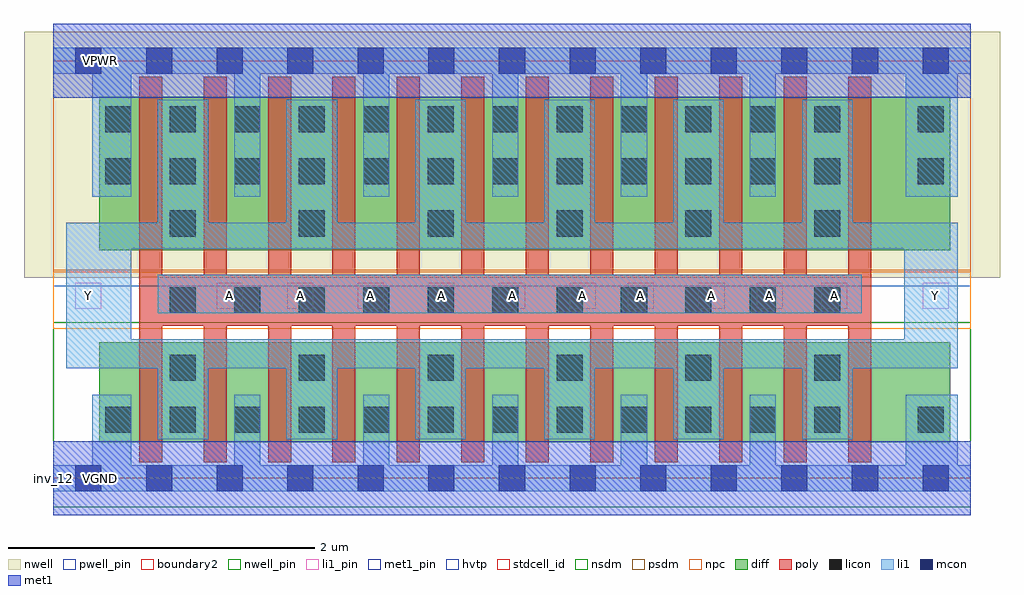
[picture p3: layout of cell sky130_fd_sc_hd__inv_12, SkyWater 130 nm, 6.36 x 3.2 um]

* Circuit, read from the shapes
.subckt sky130_fd_sc_hd__inv_12 A VGND VNB VPB VPWR Y
XM1 Y A VGND VNB sky130_fd_pr__nfet_01v8 w=0.65 l=0.15 m=12
XM2 Y A VPWR VPB sky130_fd_pr__pfet_01v8_hvt w=1 l=0.15 m=12
.ends

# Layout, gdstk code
import gdstk
lib = gdstk.Library(unit=1e-6, precision=1e-09)
def R(c, l, rs):  # rectangles x0, y0, x1, y1
    for r in rs: c.add(gdstk.rectangle(r[:2], r[2:], *l))
def A(c, l, x, y, w, h, nx, ny, dx, dy):  # array of equal rectangles
    R(c, l, [(x+i*dx, y+j*dy, x+i*dx+w, y+j*dy+h) for i in range(nx) for j in range(ny)])
def P(c, l, *ps):  # polygons
    for p in ps: c.add(gdstk.Polygon(p, *l))
nwell_pin = (64, 16)
nwell = (64, 20)
diff = (65, 20)
poly = (66, 20)
licon = (66, 44)
li1_pin = (67, 16)
li1 = (67, 20)
mcon = (67, 44)
met1_pin = (68, 16)
met1 = (68, 20)
hvtp = (78, 44)
stdcell_id = (81, 4)
nsdm = (93, 44)
psdm = (94, 20)
npc = (95, 20)
pwell_pin = (122, 16)
boundary2 = (236, 0)

sky130_fd_sc_hd__inv_12 = lib.new_cell('sky130_fd_sc_hd__inv_12')
R(sky130_fd_sc_hd__inv_12, nwell_pin, [(0.145,2.635,0.315,2.805)])
R(sky130_fd_sc_hd__inv_12, nwell, [(-0.19,1.305,6.17,2.91)])
R(sky130_fd_sc_hd__inv_12, diff, [(0.3,0.235,5.845,0.885), (0.3,1.485,5.845,2.485)])
P(sky130_fd_sc_hd__inv_12, poly, [(0.56,0.105),(0.56,2.615),(0.71,2.615),(0.71,1.325),(0.98,1.325),(0.98,2.615),(1.13,2.615),(1.13,1.325),(1.4,1.325),(1.4,2.615),(1.55,2.615),(1.55,1.325),(1.82,1.325),(1.82,2.615),(1.97,2.615),(1.97,1.325),(2.24,1.325),(2.24,2.615),(2.39,2.615),(2.39,1.325),(2.66,1.325),(2.66,2.615),(2.81,2.615),(2.81,1.325),(3.08,1.325),(3.08,2.615),(3.23,2.615),(3.23,1.325),(3.5,1.325),(3.5,2.615),(3.65,2.615),(3.65,1.325),(3.92,1.325),(3.92,2.615),(4.07,2.615),(4.07,1.325),(4.34,1.325),(4.34,2.615),(4.49,2.615),(4.49,1.325),(4.76,1.325),(4.76,2.615),(4.91,2.615),(4.91,1.325),(5.18,1.325),(5.18,2.615),(5.33,2.615),(5.33,0.105),(5.18,0.105),(5.18,0.995),(4.91,0.995),(4.91,0.105),(4.76,0.105),(4.76,0.995),(4.49,0.995),(4.49,0.105),(4.34,0.105),(4.34,0.995),(4.07,0.995),(4.07,0.105),(3.92,0.105),(3.92,0.995),(3.65,0.995),(3.65,0.105),(3.5,0.105),(3.5,0.995),(3.23,0.995),(3.23,0.105),(3.08,0.105),(3.08,0.995),(2.81,0.995),(2.81,0.105),(2.66,0.105),(2.66,0.995),(2.39,0.995),(2.39,0.105),(2.24,0.105),(2.24,0.995),(1.97,0.995),(1.97,0.105),(1.82,0.105),(1.82,0.995),(1.55,0.995),(1.55,0.105),(1.4,0.105),(1.4,0.995),(1.13,0.995),(1.13,0.105),(0.98,0.105),(0.98,0.995),(0.71,0.995),(0.71,0.105)])
A(sky130_fd_sc_hd__inv_12, licon, 0.34, 0.295, 0.17, 0.17, 12, 2, 0.42, 1.62)
A(sky130_fd_sc_hd__inv_12, licon, 0.76, 0.635, 0.17, 0.17, 6, 2, 0.84, 0.94)
A(sky130_fd_sc_hd__inv_12, licon, 0.76, 1.075, 0.17, 0.17, 11, 1, 0.42, 0)
A(sky130_fd_sc_hd__inv_12, licon, 0.34, 2.255, 0.17, 0.17, 12, 1, 0.42, 0)
R(sky130_fd_sc_hd__inv_12, licon, [(5.635,0.295,5.805,0.465), (5.635,1.915,5.805,2.085), (5.635,2.255,5.805,2.425)])
A(sky130_fd_sc_hd__inv_12, li1_pin, 1.065, 1.105, 0.17, 0.17, 6, 1, 0.46, 0)
R(sky130_fd_sc_hd__inv_12, li1_pin, [(0.145,1.105,0.315,1.275), (3.745,1.105,3.915,1.275), (4.205,1.105,4.375,1.275), (4.585,1.105,4.755,1.275), (5.005,1.105,5.175,1.275), (5.665,1.105,5.835,1.275)])
R(sky130_fd_sc_hd__inv_12, li1, [(0.68,1.075,5.27,1.325)])
P(sky130_fd_sc_hd__inv_12, li1, [(0,-0.085),(0,0.085),(0.255,0.085),(0.255,0.545),(0.51,0.545),(0.51,0.085),(1.18,0.085),(1.18,0.545),(1.35,0.545),(1.35,0.085),(2.02,0.085),(2.02,0.545),(2.19,0.545),(2.19,0.085),(2.86,0.085),(2.86,0.545),(3.03,0.545),(3.03,0.085),(3.7,0.085),(3.7,0.545),(3.87,0.545),(3.87,0.085),(4.54,0.085),(4.54,0.545),(4.71,0.545),(4.71,0.085),(5.555,0.085),(5.555,0.545),(5.895,0.545),(5.895,0.085),(5.98,0.085),(5.98,-0.085)],
  [(0.255,1.835),(0.255,2.635),(0,2.635),(0,2.805),(5.98,2.805),(5.98,2.635),(5.895,2.635),(5.895,1.835),(5.555,1.835),(5.555,2.635),(4.71,2.635),(4.71,1.835),(4.54,1.835),(4.54,2.635),(3.87,2.635),(3.87,1.835),(3.7,1.835),(3.7,2.635),(3.03,2.635),(3.03,1.835),(2.86,1.835),(2.86,2.635),(2.19,2.635),(2.19,1.835),(2.02,1.835),(2.02,2.635),(1.35,2.635),(1.35,1.835),(1.18,1.835),(1.18,2.635),(0.51,2.635),(0.51,1.835)],
  [(0.68,0.255),(0.68,0.715),(0.085,0.715),(0.085,1.665),(0.68,1.665),(0.68,2.465),(1.01,2.465),(1.01,1.665),(1.52,1.665),(1.52,2.465),(1.85,2.465),(1.85,1.665),(2.36,1.665),(2.36,2.465),(2.69,2.465),(2.69,1.665),(3.2,1.665),(3.2,2.465),(3.53,2.465),(3.53,1.665),(4.04,1.665),(4.04,2.465),(4.37,2.465),(4.37,1.665),(4.88,1.665),(4.88,2.465),(5.21,2.465),(5.21,1.665),(5.545,1.665),(5.545,1.495),(0.51,1.495),(0.51,0.905),(5.545,0.905),(5.545,1.665),(5.895,1.665),(5.895,0.715),(5.21,0.715),(5.21,0.255),(4.88,0.255),(4.88,0.715),(4.37,0.715),(4.37,0.255),(4.04,0.255),(4.04,0.715),(3.53,0.715),(3.53,0.255),(3.2,0.255),(3.2,0.715),(2.69,0.715),(2.69,0.255),(2.36,0.255),(2.36,0.715),(1.85,0.715),(1.85,0.255),(1.52,0.255),(1.52,0.715),(1.01,0.715),(1.01,0.255)])
A(sky130_fd_sc_hd__inv_12, mcon, 0.145, -0.085, 0.17, 0.17, 13, 2, 0.46, 2.72)
R(sky130_fd_sc_hd__inv_12, met1_pin, [(0.145,-0.085,0.315,0.085), (0.145,2.635,0.315,2.805)])
R(sky130_fd_sc_hd__inv_12, hvtp, [(0,1.25,5.98,2.72)])
R(sky130_fd_sc_hd__inv_12, stdcell_id, [(0,0,5.98,2.72)])
R(sky130_fd_sc_hd__inv_12, nsdm, [(0,-0.19,5.98,1.015)])
R(sky130_fd_sc_hd__inv_12, psdm, [(0,1.355,5.98,2.91)])
R(sky130_fd_sc_hd__inv_12, npc, [(0,0.975,5.98,1.345)])
R(sky130_fd_sc_hd__inv_12, pwell_pin, [(0.145,-0.085,0.315,0.085)])
R(sky130_fd_sc_hd__inv_12, boundary2, [(0,0,5.98,2.72)])
sky130_fd_sc_hd__inv_12.add(gdstk.FlexPath([(0,0),(5.98,0)], 0.48, ends="flush", simple_path=True, layer=68, datatype=20))  # met1
sky130_fd_sc_hd__inv_12.add(gdstk.FlexPath([(0,2.72),(5.98,2.72)], 0.48, ends="flush", simple_path=True, layer=68, datatype=20))  # met1
sky130_fd_sc_hd__inv_12.add(gdstk.Label('Y', (0.23,1.19), layer=67, texttype=5))
sky130_fd_sc_hd__inv_12.add(gdstk.Label('Y', (5.75,1.19), layer=67, texttype=5))
sky130_fd_sc_hd__inv_12.add(gdstk.Label('A', (1.15,1.19), layer=67, texttype=5))
sky130_fd_sc_hd__inv_12.add(gdstk.Label('A', (1.61,1.19), layer=67, texttype=5))
sky130_fd_sc_hd__inv_12.add(gdstk.Label('A', (2.07,1.19), layer=67, texttype=5))
sky130_fd_sc_hd__inv_12.add(gdstk.Label('A', (2.53,1.19), layer=67, texttype=5))
sky130_fd_sc_hd__inv_12.add(gdstk.Label('A', (2.99,1.19), layer=67, texttype=5))
sky130_fd_sc_hd__inv_12.add(gdstk.Label('A', (3.45,1.19), layer=67, texttype=5))
sky130_fd_sc_hd__inv_12.add(gdstk.Label('A', (3.83,1.19), layer=67, texttype=5))
sky130_fd_sc_hd__inv_12.add(gdstk.Label('A', (4.29,1.19), layer=67, texttype=5))
sky130_fd_sc_hd__inv_12.add(gdstk.Label('A', (4.67,1.19), layer=67, texttype=5))
sky130_fd_sc_hd__inv_12.add(gdstk.Label('A', (5.09,1.19), layer=67, texttype=5))
sky130_fd_sc_hd__inv_12.add(gdstk.Label('VPWR', (0.31,2.72), layer=68, texttype=5))
sky130_fd_sc_hd__inv_12.add(gdstk.Label('VGND', (0.31,0), layer=68, texttype=5))
sky130_fd_sc_hd__inv_12.add(gdstk.Label('inv_12', (0,0), layer=83, texttype=44))
sky130_fd_sc_hd__inv_12.add(gdstk.Label('VPB', (0.31,2.72), layer=64, texttype=5))
sky130_fd_sc_hd__inv_12.add(gdstk.Label('VNB', (0.31,0), layer=64, texttype=59))

lib.write_gds('sky130_fd_sc_hd__inv_12.gds')
